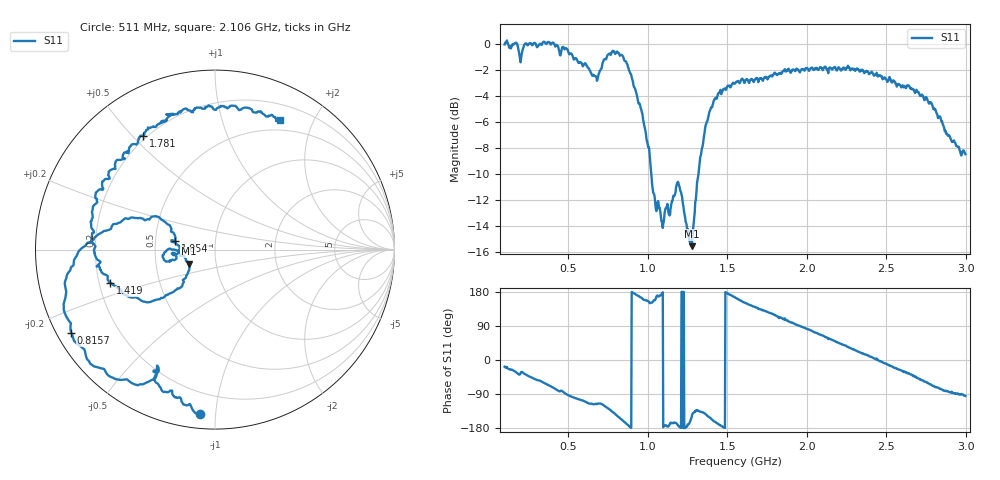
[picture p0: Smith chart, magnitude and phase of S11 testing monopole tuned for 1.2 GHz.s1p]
# HZ S RI R 50
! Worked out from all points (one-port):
!   1009 points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, 100 MHz to 2.997 GHz, reference 50 ohm
!   lowest |S11| = -15.6 dB at 1.276 GHz (marker M1), VSWR 1.40, Z = 36.8 - j5.96 ohm
!   |S11| at or under -10 dB: 1.022 GHz to 1.319 GHz (296.7 MHz wide, 25.3 % of centre)
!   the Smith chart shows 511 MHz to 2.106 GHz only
!   S11 on the Smith chart (normalised r, x): 511 MHz: 0.08, -0.91; 815.7 MHz: 0.04, -0.27; 1.054 GHz: 0.63, +0.07; 1.419 GHz: 0.25, -0.15; 1.781 GHz: 0.19, +0.54; 2.106 GHz: 0.38, +1.56
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1e8  0.9481 -0.3076
2.29336e8  0.797 -0.6116
3.58672e8  0.4603 -0.8926
4.621408e8  0.1315 -0.9619
5.11001e8  -0.083 -0.9155
6.230922e8  -0.3187 -0.7469
7.006938e8  -0.3342 -0.7162
7.581765e8  -0.5877 -0.7059
8.156591e8  -0.8013 -0.4639
8.242815e8  -0.803 -0.4104
8.731418e8  -0.8194 -0.1308
9.392468e8  -0.5903 0.1103
1.002478e9  -0.3649 0.1678
1.054212e9  -0.2218 0.0497
1.09445e9  -0.1957 0.00426
1.186422e9  -0.2856 -0.0501
1.27552e9  -0.1468 -0.0787
1.353122e9  -0.3381 -0.2827
1.419227e9  -0.5837 -0.1869
1.548563e9  -0.6813 0.1782
1.781368e9  -0.4013 0.6335
1.910704e9  -0.1143 0.7858
2.106145e9  0.3635 0.7208
2.272845e9  0.6746 0.416
2.451041e9  0.7556 -0.0154
2.634985e9  0.5737 -0.3909
2.778692e9  0.2567 -0.5345
2.997126e9  -0.0308 -0.3754
